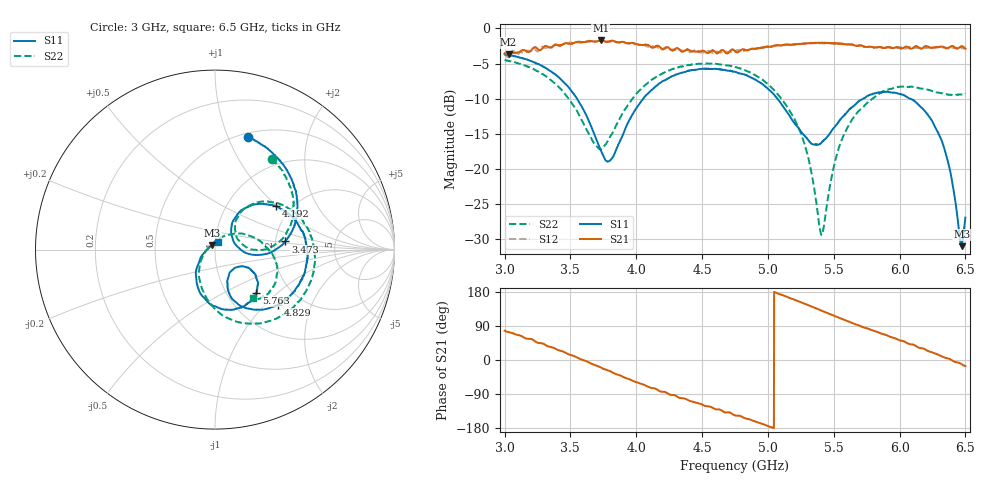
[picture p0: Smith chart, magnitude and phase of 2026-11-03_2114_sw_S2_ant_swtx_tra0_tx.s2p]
! HEWLETT PACKARD,8720ES,MY41003347,7.72, via bringup/vna_tests.py
! sw_S2_ant_swtx_tra0_tx
! measured 2026-11-03 21:15:25, 1601 points, 3000000000-6500000000 Hz, IF bandwidth 1000 Hz, source -40.00 dBm, kit CALK35MD
! board A, CTRL bits {'tr_a': 0} set before each sweep
# HZ S RI R 50
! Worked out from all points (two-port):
!   1601 points, 3 GHz to 6.5 GHz, reference 50 ohm
!   highest |S21| = -1.71 dB at 3.731 GHz (marker M1); lowest = -3.7 dB at 3.031 GHz (marker M2)
!   |S21| within 3 dB of the highest: start of sweep to end of sweep
!   lowest |S11| = -31.0 dB at 6.472 GHz (marker M3), VSWR 1.06, Z = 48.6 + j2.39 ohm
!   |S11| at or under -10 dB: 3.551 GHz to 4.052 GHz (501.3 MHz wide, 13.2 % of centre); 5.072 GHz to 5.723 GHz (650.7 MHz wide, 12.1 % of centre); 6.083 GHz to end of sweep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
!   |S22| runs from -29.4 to -4.5 dB; largest |S21 - S12| = 0.039
!   S11 on the Smith chart (normalised r, x): 3 GHz: 0.54, +1.18; 3.473 GHz: 2.27, +0.24; 4.192 GHz: 1.67, +0.98; 4.829 GHz: 1.52, -1.20; 5.763 GHz: 1.37, -0.74; 6.5 GHz: 1.03, +0.09
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3e9  0.1841 0.6279  0.1453 0.6501  0.1539 0.6316  0.3186 0.5049
3.030625e9  0.2284 0.6056  0.1825 0.6303  0.1638 0.6004  0.3441 0.4748
3.2625e9  0.451 0.3221  0.4988 0.4929  0.4744 0.5173  0.4377 0.2171
3.4725e9  0.3914 0.0452  0.7515 0.2307  0.7297 0.2386  0.3278 0.0238
3.584062e9  0.2785 -0.0254  0.7997 0.0179  0.7925 0.024  0.2246 -0.00117
3.730625e9  0.1357 0.00652  0.7725 -0.279  0.761 -0.2842  0.1212 0.0661
3.809375e9  0.0963 0.0676  0.7006 -0.419  0.6845 -0.4202  0.1117 0.1337
4.168125e9  0.315 0.2491  0.1281 -0.7404  0.1239 -0.7224  0.3948 0.2397
4.192188e9  0.3398 0.2426  0.0789 -0.7133  0.0902 -0.7063  0.418 0.2248
4.474375e9  0.5128 0.00894  -0.2833 -0.6263  -0.2944 -0.6135  0.558 -0.059
4.75e9  0.4194 -0.2567  -0.5741 -0.3824  -0.5536 -0.4019  0.4002 -0.347
4.82875e9  0.353 -0.3076  -0.6297 -0.3065  -0.6251 -0.3129  0.3106 -0.3963
5.150312e9  0.0774 -0.2387  -0.7451 0.1906  -0.7391 0.1941  -0.0482 -0.2691
5.334062e9  0.0846 -0.1254  -0.6101 0.4987  -0.6056 0.497  -0.0742 -0.0521
5.412812e9  0.1219 -0.0977  -0.5047 0.6101  -0.4991 0.6079  -0.0211 0.0274
5.548438e9  0.1966 -0.1086  -0.2728 0.7327  -0.2678 0.7289  0.1212 0.09
5.762812e9  0.2309 -0.2406  0.0969 0.7333  0.1047 0.7304  0.3007 -0.0014
5.918125e9  0.1378 -0.3248  0.3377 0.653  0.34 0.6508  0.3472 -0.1261
6.294375e9  -0.1064 -0.1453  0.7177 0.177  0.7133 0.1692  0.2159 -0.2759
6.379688e9  -0.0843 -0.0562  0.7339 0.0345  0.7276 0.0217  0.2051 -0.2683
6.471562e9  -0.014 0.0246  0.7307 -0.1417  0.707 -0.1454  0.2098 -0.2669
6.5e9  0.0155 0.0424  0.6894 -0.1979  0.6945 -0.1946  0.2134 -0.2679
